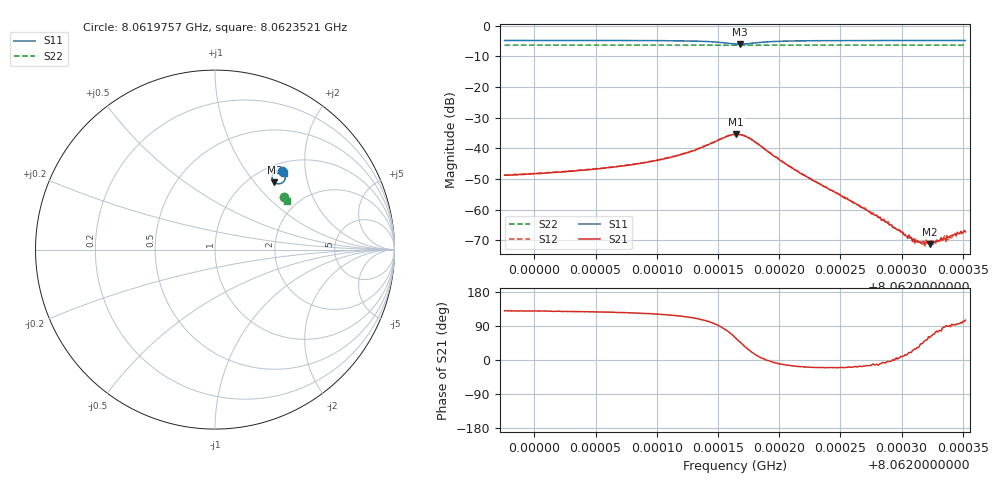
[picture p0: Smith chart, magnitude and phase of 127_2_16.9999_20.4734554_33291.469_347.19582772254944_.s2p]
#  HZ  S  RI  R  50.00
! Rohde & Schwarz Vector Network Analyzer
! Rohde-Schwarz,ZNB20-2Port,1311601062101988,3.16
! Created: UTC 3/20/2024, 10:57:47 PM
! freq[Hz]  re:S11  im:S11  re:S21  im:S21  re:S12  im:S12  re:S22  im:S22
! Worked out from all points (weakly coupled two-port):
!   401 points, 8.0619757 GHz to 8.0623521 GHz, reference 50 ohm
!   highest |S21| = -35.41 dB at 8.0621649 GHz (marker M1); lowest = -71.2 dB at 8.062323 GHz (marker M2)
!   lowest |S11| = -6.0 dB at 8.0621677 GHz (marker M3), VSWR 3.00, Z = 63.7 + j63.8 ohm
!   |S11| at or under -10 dB: nowhere
!   |S22| runs from -6.4 to -6.3 dB; largest |S21 - S12| = 0.0013
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8.06197571e9  0.3747 0.4369  -0.00233 0.0028  -0.00221 0.00296  0.3866 0.2905
8.06203877e9  0.3806 0.431  -0.00266 0.00347  -0.00252 0.00368  0.3886 0.2874
8.06207641e9  0.3848 0.4254  -0.00303 0.00436  -0.00281 0.00456  0.39 0.2855
8.06210182e9  0.3884 0.4191  -0.00333 0.00555  -0.00299 0.00581  0.3908 0.2839
8.06213005e9  0.3919 0.4042  -0.00329 0.00859  -0.00281 0.00891  0.3915 0.2819
8.06215546e9  0.3724 0.3707  0.00222 0.0149  0.00315 0.0149  0.391 0.2795
8.06216393e9  0.3443 0.3679  0.00851 0.0146  0.00951 0.0142  0.3901 0.2795
8.06216487e9  0.3408 0.3691  0.00929 0.0142  0.0101 0.0138  0.3899 0.2796
8.06216769e9  0.3311 0.375  0.0111 0.0125  0.012 0.012  0.3897 0.2799
8.0621771e9  0.3183 0.4065  0.013 0.00527  0.0134 0.00443  0.39 0.281
8.06220345e9  0.3485 0.4394  0.00579 -0.00122  0.00578 -0.00155  0.3926 0.2808
8.06222698e9  0.3629 0.4394  0.00288 -0.00101  0.00281 -0.00123  0.394 0.2793
8.06227121e9  0.3745 0.435  0.000953 -0.000256  0.00093 -0.000319  0.3959 0.2771
8.06229003e9  0.3773 0.4335  0.000561 -3.65e-05  0.000577 -7.32e-05  0.3964 0.276
8.06230321e9  0.379 0.4323  0.000367 9.3e-05  0.000393 6.5e-05  0.3969 0.2754
8.06231074e9  0.38 0.4317  0.000249 0.00014  0.000272 0.000132  0.3972 0.2751
8.06231732e9  0.3808 0.4312  0.000215 0.00021  0.000179 0.000203  0.3974 0.2745
8.06232297e9  0.3813 0.4308  0.000139 0.000237  0.00018 0.000227  0.3976 0.2743
8.06232579e9  0.3815 0.4305  0.000116 0.000283  0.00013 0.000244  0.3977 0.2743
8.06233332e9  0.3823 0.43  3.49e-05 0.000313  8.97e-05 0.00029  0.398 0.2739
8.06233803e9  0.3827 0.4298  7.05e-06 0.000359  5.13e-05 0.000321  0.398 0.2736
8.06235214e9  0.384 0.4287  -0.000114 0.000424  -9.71e-05 0.000427  0.3985 0.2729
